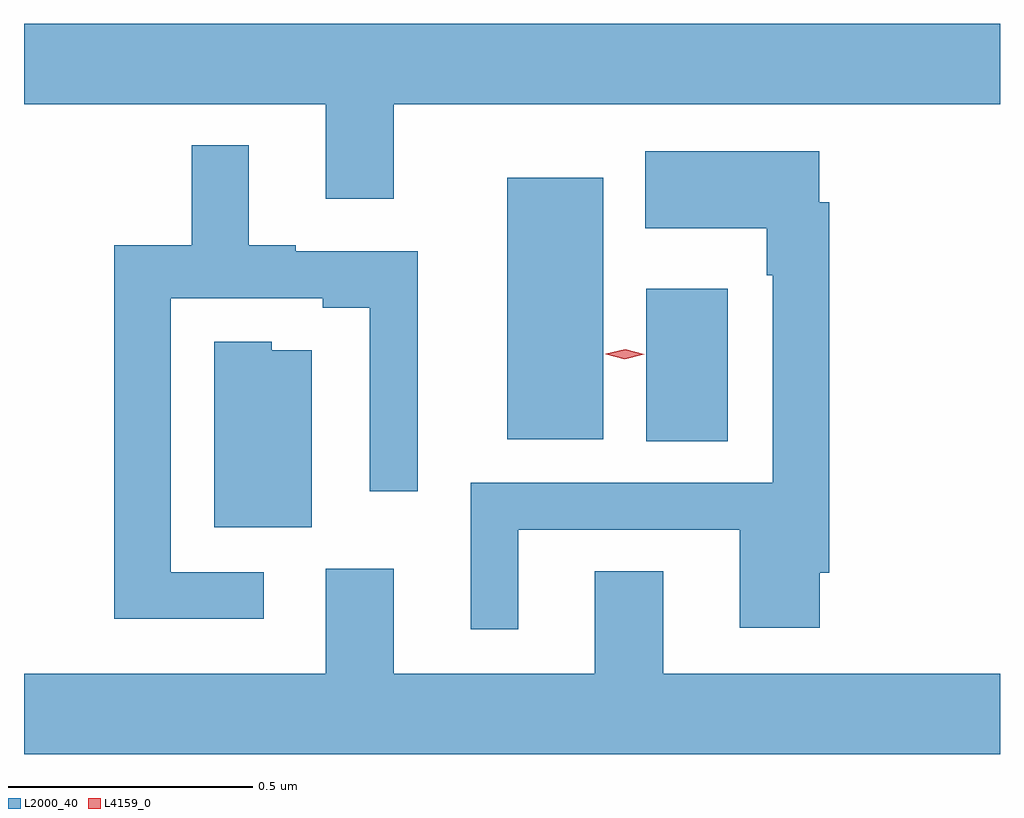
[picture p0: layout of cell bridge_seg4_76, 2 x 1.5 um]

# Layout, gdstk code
import gdstk
lib = gdstk.Library(unit=1e-6, precision=1e-09)
def R(c, l, rs):  # rectangles x0, y0, x1, y1
    for r in rs: c.add(gdstk.rectangle(r[:2], r[2:], *l))
def P(c, l, *ps):  # polygons
    for p in ps: c.add(gdstk.Polygon(p, *l))
L2000_40 = (2000, 40)
L4159_0 = (4159, 0)

bridge_seg4_76 = lib.new_cell('bridge_seg4_76')
R(bridge_seg4_76, L2000_40, [(474.158,822.769,474.325,823.081), (473.873,822.773,474.07,823.309)])
P(bridge_seg4_76, L2000_40, [(473.641,823.46),(474.883,823.46),(474.883,823.624),(472.883,823.624),(472.883,823.46),(473.501,823.46),(473.501,823.266),(473.641,823.266)],
  [(473.374,822.501),(473.184,822.501),(473.184,823.062),(473.495,823.062),(473.495,823.042),(473.592,823.042),(473.592,822.666),(473.69,822.666),(473.69,823.158),(473.44,823.158),(473.44,823.171),(473.344,823.171),(473.344,823.375),(473.227,823.375),(473.227,823.171),(473.068,823.171),(473.068,822.405),(473.374,822.405)],
  [(473.896,822.588),(474.35,822.588),(474.35,822.387),(474.514,822.387),(474.514,822.499),(474.533,822.499),(474.533,823.259),(474.513,823.259),(474.513,823.363),(474.156,823.363),(474.156,823.205),(474.405,823.205),(474.405,823.109),(474.417,823.109),(474.417,822.684),(473.798,822.684),(473.798,822.384),(473.896,822.384)],
  [(473.473,822.955),(473.391,822.955),(473.391,822.973),(473.273,822.973),(473.273,822.593),(473.473,822.593)],
  [(474.883,822.292),(474.193,822.292),(474.193,822.503),(474.053,822.503),(474.053,822.292),(473.641,822.292),(473.641,822.508),(473.501,822.508),(473.501,822.292),(472.883,822.292),(472.883,822.128),(474.883,822.128)])
P(bridge_seg4_76, L4159_0, [(474.114,822.937),(474.075,822.947),(474.075,822.947),(474.075,822.948),(474.115,822.957),(474.154,822.947),(474.154,822.947),(474.154,822.947)])

lib.write_gds('bridge_seg4_76.gds')
